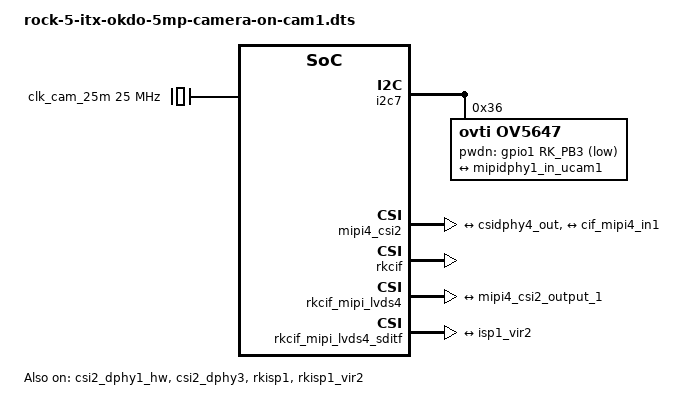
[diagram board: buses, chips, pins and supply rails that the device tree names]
/dts-v1/;
/plugin/;

#include <dt-bindings/gpio/gpio.h>
#include <dt-bindings/pinctrl/rockchip.h>

/ {
	metadata {
		title ="Enable OKDO 5MP Camera on CAM1";
		compatible = "radxa,rock-5-itx";
		category = "camera";
		exclusive = "csi2_dphy3";
		description = "Enable OKDO 5MP Camera on CAM1.";
	};

	fragment@0 {
		target-path = "/";

		__overlay__ {
			clk_cam_25m: external-camera-clock-25m {
				status = "okay";
				compatible = "fixed-clock";
				clock-frequency = <25000000>;
				clock-output-names = "clk_cam_25m";
				#clock-cells = <0>;
			};
		};
	};

	fragment@1 {
		target = <&i2c7>;

		__overlay__ {
			status = "okay";
			#address-cells = <1>;
			#size-cells = <0>;

			ov5647: ov5647@36 {
				status = "okay";
				compatible = "ovti,ov5647";
				reg = <0x36>;
				clocks = <&clk_cam_25m>;
				pwdn-gpios = <&gpio1 RK_PB3 GPIO_ACTIVE_LOW>;
				clock-names = "ext_cam_clk";
				rockchip,camera-module-index = <0>;
				rockchip,camera-module-facing = "back";
				rockchip,camera-module-name = "OKDO-5MP";
				rockchip,camera-module-lens-name = "default";

				port {
					ov5647_out1: endpoint {
						remote-endpoint = <&mipidphy1_in_ucam1>;
						data-lanes = <1 2>;
					};
				};
			};
		};
	};

	fragment@2 {
		target = <&csi2_dphy1_hw>;

		__overlay__ {
			status = "okay";
		};
	};

	fragment@3 {
		/* dphy1 full mode */
		target = <&csi2_dphy3>;

		__overlay__ {
			status = "okay";

			ports {
				#address-cells = <1>;
				#size-cells = <0>;

				port@0 {
					reg = <0>;
					#address-cells = <1>;
					#size-cells = <0>;

					mipidphy1_in_ucam1: endpoint@1 {
						reg = <1>;
						remote-endpoint = <&ov5647_out1>;
						data-lanes = <1 2>;
					};
				};

				port@1 {
					reg = <1>;
					#address-cells = <1>;
					#size-cells = <0>;

					csidphy4_out: endpoint@0 {
						reg = <0>;
						remote-endpoint = <&mipi4_csi2_input_1>;
					};
				};
			};
		};
	};

	fragment@4 {
		target = <&mipi4_csi2>;

		__overlay__ {
			status = "okay";

			ports {
				#address-cells = <1>;
				#size-cells = <0>;

				port@0 {
					reg = <0>;
					#address-cells = <1>;
					#size-cells = <0>;

					mipi4_csi2_input_1: endpoint@1 {
						reg = <1>;
						remote-endpoint = <&csidphy4_out>;
					};
				};

				port@1 {
					reg = <1>;
					#address-cells = <1>;
					#size-cells = <0>;

					mipi4_csi2_output_1: endpoint@0 {
						reg = <0>;
						remote-endpoint = <&cif_mipi4_in1>;
					};
				};
			};
		};
	};

	fragment@5 {
		target = <&rkcif>;

		__overlay__ {
			status = "okay";
		};
	};

	fragment@6 {
		target = <&rkcif_mipi_lvds4>;

		__overlay__ {
			status = "okay";

			port {
				cif_mipi4_in1: endpoint {
					remote-endpoint = <&mipi4_csi2_output_1>;
				};
			};
		};
	};

	fragment@7 {
		target = <&rkcif_mipi_lvds4_sditf>;

		__overlay__ {
			status = "okay";

			port {
				mipi4_lvds2_sditf_1: endpoint {
					remote-endpoint = <&isp1_vir2>;
				};
			};
		};
	};

	fragment@8 {
		target = <&rkcif_mmu>;

		__overlay__ {
			status = "okay";
		};
	};

	fragment@9 {
		target = <&isp1_mmu>;

		__overlay__ {
			status = "okay";
		};
	};

	fragment@10 {
		target = <&rkisp1>;

		__overlay__ {
			status = "okay";
		};
	};

	fragment@11 {
		target = <&rkisp1_vir2>;

		__overlay__ {
			status = "okay";

			port {
				#address-cells = <1>;
				#size-cells = <0>;

				isp1_vir2: endpoint@0 {
					reg = <0>;
					remote-endpoint = <&mipi4_lvds2_sditf_1>;
				};
			};
		};
	};
};

